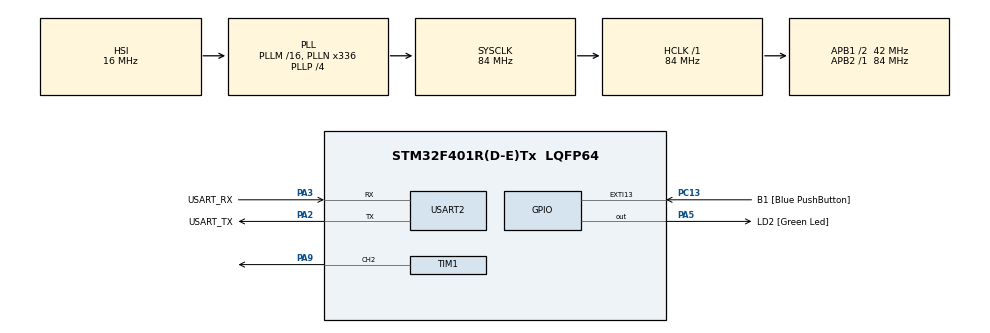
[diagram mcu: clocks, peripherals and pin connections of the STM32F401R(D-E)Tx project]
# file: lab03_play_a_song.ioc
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Mcu.Family=STM32F4
Mcu.Name=STM32F401R(D-E)Tx
Mcu.Package=LQFP64
NVIC.PriorityGroup=NVIC_PRIORITYGROUP_0
PA13.GPIO_Label=TMS
PA13.Mode=Serial_Wire
PA13.Signal=SYS_JTMS-SWDIO
PA14.GPIO_Label=TCK
PA14.Mode=Serial_Wire
PA14.Signal=SYS_JTCK-SWCLK
PA2.GPIO_Label=USART_TX
PA2.GPIO_Mode=GPIO_MODE_AF_PP
PA2.GPIO_PuPd=GPIO_NOPULL
PA2.GPIO_Speed=GPIO_SPEED_FREQ_LOW
PA2.Mode=Asynchronous
PA2.Signal=USART2_TX
PA3.GPIO_Label=USART_RX
PA3.GPIO_Mode=GPIO_MODE_AF_PP
PA3.GPIO_PuPd=GPIO_NOPULL
PA3.GPIO_Speed=GPIO_SPEED_FREQ_LOW
PA3.Mode=Asynchronous
PA3.Signal=USART2_RX
PA5.GPIO_Label=LD2 [Green Led]
PA5.GPIO_Mode=GPIO_MODE_OUTPUT_PP
PA5.GPIO_PuPd=GPIO_NOPULL
PA5.GPIO_Speed=GPIO_SPEED_FREQ_LOW
PA5.Signal=GPIO_Output
PA9.Signal=S_TIM1_CH2
PB3.GPIO_Label=SWO
PB3.Signal=SYS_JTDO-SWO
PC13-ANTI_TAMP.GPIO_Label=B1 [Blue PushButton]
PC13-ANTI_TAMP.GPIO_ModeDefaultEXTI=GPIO_MODE_IT_FALLING
PC13-ANTI_TAMP.GPIO_PuPd=GPIO_NOPULL
PC13-ANTI_TAMP.Signal=GPXTI13
PC14-OSC32_IN.Mode=LSE-External-Oscillator
PC14-OSC32_IN.Signal=RCC_OSC32_IN
PC15-OSC32_OUT.Mode=LSE-External-Oscillator
PC15-OSC32_OUT.Signal=RCC_OSC32_OUT
PH0\ -\ OSC_IN.Mode=HSE-External-Clock-Source
PH0\ -\ OSC_IN.Signal=RCC_OSC_IN
PH1\ -\ OSC_OUT.Mode=HSE-External-Clock-Source
PH1\ -\ OSC_OUT.Signal=RCC_OSC_OUT
ProjectManager.HeapSize=0x200
ProjectManager.StackSize=0x400
ProjectManager.TargetToolchain=STM32CubeIDE
RCC.48MHZClocksFreq_Value=48000000
RCC.AHBFreq_Value=84000000
RCC.APB1CLKDivider=RCC_HCLK_DIV2
RCC.APB1Freq_Value=42000000
RCC.APB1TimFreq_Value=84000000
RCC.APB2Freq_Value=84000000
RCC.APB2TimFreq_Value=84000000
RCC.CortexFreq_Value=84000000
RCC.HCLKFreq_Value=84000000
RCC.HSE_VALUE=8000000
RCC.HSI_VALUE=16000000
RCC.PLLN=336
RCC.PLLP=RCC_PLLP_DIV4
RCC.PLLQ=7
RCC.SYSCLKFreq_VALUE=84000000
RCC.SYSCLKSource=RCC_SYSCLKSOURCE_PLLCLK
RCC.VCOOutputFreq_Value=336000000
SH.S_TIM1_CH2.0=TIM1_CH2,PWM Generation2 CH2
TIM1.Channel-PWM\ Generation2\ CH2=TIM_CHANNEL_2
TIM1.Prescaler=100-1
USART2.VirtualMode=VM_ASYNC
VP_TIM1_VS_ClockSourceINT.Mode=Internal
board=NUCLEO-F401RE

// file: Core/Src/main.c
/* USER CODE BEGIN Header */
/**
  ******************************************************************************
  * @file           : main.c
  * @brief          : Main program body
  ******************************************************************************
  * @attention
  *
  * Copyright (c) 2023 STMicroelectronics.
  * All rights reserved.
  *
  * This software is licensed under terms that can be found in the LICENSE file
  * in the root directory of this software component.
  * If no LICENSE file comes with this software, it is provided AS-IS.
  *
  ******************************************************************************
  */
/* USER CODE END Header */
#include "main.h"

/* USER CODE BEGIN Includes */
#include "stdlib.h"

/* USER CODE END Includes */

/* USER CODE BEGIN PD */
#define DO4   3206
#define DO4_  3032
#define RE4   2857
#define RE4_  2700
#define MI4   2545
#define FA4   2406
#define FA4_  2270
#define SOL4  2142
#define SOL4_ 2024
#define LA4   1909
#define LA4_  1802
#define SI4   1700

#define DO5   1606
#define DO5_  1516
#define RE5   1431
#define RE5_  1350
#define MI5   1274
#define FA5   1203
#define FA5_  1135
#define SOL5  1072
#define SOL5_ 1012
#define LA5   954
#define LA5_  901
#define SI5   851

#define TEMPO 1000	// time of one bar (battuta del pentagramma) in ms

/* USER CODE END PD */

TIM_HandleTypeDef htim1;

UART_HandleTypeDef huart2;

/* USER CODE BEGIN PV */

struct note {
	int period;
	int delay;
	struct note *next;
}note;

/* USER CODE END PV */

void SystemClock_Config(void);
static void MX_GPIO_Init(void);
static void MX_USART2_UART_Init(void);
static void MX_TIM1_Init(void);
/* USER CODE BEGIN PFP */

// receives the period of the node to set
static void set_Note(int);

// create the linked list of notes (that composes a song)
static struct note* create_Song(int[], int[], int);

// receives the period of the node to play and the delay of play
static void play_Note(int, int);

// the parameters are the array of notes and delays of the song
static void play_Song(struct note*);

// the parameter is the TEMPO multiplier
static void play_London_Bridge(int);
static void play_Happy_Birthday(int);
static void play_Bro_Martin(int);
static void play_Pokemon_Emerald(int);

/* USER CODE END PFP */

int main(void)
{

  /* MCU Configuration--------------------------------------------------------*/

  /* Reset of all peripherals, Initializes the Flash interface and the Systick. */
  HAL_Init();

  /* Configure the system clock */
  SystemClock_Config();

  /* Initialize all configured peripherals */
  MX_GPIO_Init();
  MX_USART2_UART_Init();
  MX_TIM1_Init();
  /* USER CODE BEGIN 2 */

  HAL_GPIO_WritePin(GPIOA, GPIO_PIN_5, GPIO_PIN_RESET);

  /*
  set_Note(SI5);
  HAL_TIM_PWM_Start(&htim1, TIM_CHANNEL_2);
  HAL_Delay(300);
  HAL_TIM_PWM_Stop(&htim1, TIM_CHANNEL_2);
  */

  //play_Happy_Birthday(1);
  //play_Bro_Martin(2);
  //play_London_Bridge(1);
  play_Pokemon_Emerald(1);

  /* USER CODE END 2 */

  /* Infinite loop */
  while (1)
  {

  }
}

void SystemClock_Config(void)
{
  RCC_OscInitTypeDef RCC_OscInitStruct = {0};
  RCC_ClkInitTypeDef RCC_ClkInitStruct = {0};

  /** Configure the main internal regulator output voltage
  */
  __HAL_RCC_PWR_CLK_ENABLE();
  __HAL_PWR_VOLTAGESCALING_CONFIG(PWR_REGULATOR_VOLTAGE_SCALE2);

  /** Initializes the RCC Oscillators according to the specified parameters
  * in the RCC_OscInitTypeDef structure.
  */
  RCC_OscInitStruct.OscillatorType = RCC_OSCILLATORTYPE_HSI;
  RCC_OscInitStruct.HSIState = RCC_HSI_ON;
  RCC_OscInitStruct.HSICalibrationValue = RCC_HSICALIBRATION_DEFAULT;
  RCC_OscInitStruct.PLL.PLLState = RCC_PLL_ON;
  RCC_OscInitStruct.PLL.PLLSource = RCC_PLLSOURCE_HSI;
  RCC_OscInitStruct.PLL.PLLM = 16;
  RCC_OscInitStruct.PLL.PLLN = 336;
  RCC_OscInitStruct.PLL.PLLP = RCC_PLLP_DIV4;
  RCC_OscInitStruct.PLL.PLLQ = 7;
  if (HAL_RCC_OscConfig(&RCC_OscInitStruct) != HAL_OK)
  {
    Error_Handler();
  }

  /** Initializes the CPU, AHB and APB buses clocks
  */
  RCC_ClkInitStruct.ClockType = RCC_CLOCKTYPE_HCLK|RCC_CLOCKTYPE_SYSCLK
                              |RCC_CLOCKTYPE_PCLK1|RCC_CLOCKTYPE_PCLK2;
  RCC_ClkInitStruct.SYSCLKSource = RCC_SYSCLKSOURCE_PLLCLK;
  RCC_ClkInitStruct.AHBCLKDivider = RCC_SYSCLK_DIV1;
  RCC_ClkInitStruct.APB1CLKDivider = RCC_HCLK_DIV2;
  RCC_ClkInitStruct.APB2CLKDivider = RCC_HCLK_DIV1;

  if (HAL_RCC_ClockConfig(&RCC_ClkInitStruct, FLASH_LATENCY_2) != HAL_OK)
  {
    Error_Handler();
  }
}

static void MX_TIM1_Init(void)
{

  TIM_ClockConfigTypeDef sClockSourceConfig = {0};
  TIM_MasterConfigTypeDef sMasterConfig = {0};
  TIM_OC_InitTypeDef sConfigOC = {0};
  TIM_BreakDeadTimeConfigTypeDef sBreakDeadTimeConfig = {0};

  htim1.Instance = TIM1;
  htim1.Init.Prescaler = 100-1;
  htim1.Init.CounterMode = TIM_COUNTERMODE_UP;
  htim1.Init.Period = 65535;
  htim1.Init.ClockDivision = TIM_CLOCKDIVISION_DIV1;
  htim1.Init.RepetitionCounter = 0;
  htim1.Init.AutoReloadPreload = TIM_AUTORELOAD_PRELOAD_DISABLE;
  if (HAL_TIM_Base_Init(&htim1) != HAL_OK)
  {
    Error_Handler();
  }
  sClockSourceConfig.ClockSource = TIM_CLOCKSOURCE_INTERNAL;
  if (HAL_TIM_ConfigClockSource(&htim1, &sClockSourceConfig) != HAL_OK)
  {
    Error_Handler();
  }
  if (HAL_TIM_PWM_Init(&htim1) != HAL_OK)
  {
    Error_Handler();
  }
  sMasterConfig.MasterOutputTrigger = TIM_TRGO_RESET;
  sMasterConfig.MasterSlaveMode = TIM_MASTERSLAVEMODE_DISABLE;
  if (HAL_TIMEx_MasterConfigSynchronization(&htim1, &sMasterConfig) != HAL_OK)
  {
    Error_Handler();
  }
  sConfigOC.OCMode = TIM_OCMODE_PWM1;
  sConfigOC.Pulse = 0;
  sConfigOC.OCPolarity = TIM_OCPOLARITY_HIGH;
  sConfigOC.OCNPolarity = TIM_OCNPOLARITY_HIGH;
  sConfigOC.OCFastMode = TIM_OCFAST_DISABLE;
  sConfigOC.OCIdleState = TIM_OCIDLESTATE_RESET;
  sConfigOC.OCNIdleState = TIM_OCNIDLESTATE_RESET;
  if (HAL_TIM_PWM_ConfigChannel(&htim1, &sConfigOC, TIM_CHANNEL_2) != HAL_OK)
  {
    Error_Handler();
  }
  sBreakDeadTimeConfig.OffStateRunMode = TIM_OSSR_DISABLE;
  sBreakDeadTimeConfig.OffStateIDLEMode = TIM_OSSI_DISABLE;
  sBreakDeadTimeConfig.LockLevel = TIM_LOCKLEVEL_OFF;
  sBreakDeadTimeConfig.DeadTime = 0;
  sBreakDeadTimeConfig.BreakState = TIM_BREAK_DISABLE;
  sBreakDeadTimeConfig.BreakPolarity = TIM_BREAKPOLARITY_HIGH;
  sBreakDeadTimeConfig.AutomaticOutput = TIM_AUTOMATICOUTPUT_DISABLE;
  if (HAL_TIMEx_ConfigBreakDeadTime(&htim1, &sBreakDeadTimeConfig) != HAL_OK)
  {
    Error_Handler();
  }
  HAL_TIM_MspPostInit(&htim1);

}

static void MX_USART2_UART_Init(void)
{

  huart2.Instance = USART2;
  huart2.Init.BaudRate = 115200;
  huart2.Init.WordLength = UART_WORDLENGTH_8B;
  huart2.Init.StopBits = UART_STOPBITS_1;
  huart2.Init.Parity = UART_PARITY_NONE;
  huart2.Init.Mode = UART_MODE_TX_RX;
  huart2.Init.HwFlowCtl = UART_HWCONTROL_NONE;
  huart2.Init.OverSampling = UART_OVERSAMPLING_16;
  if (HAL_UART_Init(&huart2) != HAL_OK)
  {
    Error_Handler();
  }

}

static void MX_GPIO_Init(void)
{
  GPIO_InitTypeDef GPIO_InitStruct = {0};

  /* GPIO Ports Clock Enable */
  __HAL_RCC_GPIOC_CLK_ENABLE();
  __HAL_RCC_GPIOH_CLK_ENABLE();
  __HAL_RCC_GPIOA_CLK_ENABLE();
  __HAL_RCC_GPIOB_CLK_ENABLE();

  /*Configure GPIO pin Output Level */
  HAL_GPIO_WritePin(LD2_GPIO_Port, LD2_Pin, GPIO_PIN_RESET);

  /*Configure GPIO pin : B1_Pin */
  GPIO_InitStruct.Pin = B1_Pin;
  GPIO_InitStruct.Mode = GPIO_MODE_IT_FALLING;
  GPIO_InitStruct.Pull = GPIO_NOPULL;
  HAL_GPIO_Init(B1_GPIO_Port, &GPIO_InitStruct);

  /*Configure GPIO pin : LD2_Pin */
  GPIO_InitStruct.Pin = LD2_Pin;
  GPIO_InitStruct.Mode = GPIO_MODE_OUTPUT_PP;
  GPIO_InitStruct.Pull = GPIO_NOPULL;
  GPIO_InitStruct.Speed = GPIO_SPEED_FREQ_LOW;
  HAL_GPIO_Init(LD2_GPIO_Port, &GPIO_InitStruct);

}

/* USER CODE BEGIN 4 */

static void set_Note(int period) {

  TIM_ClockConfigTypeDef sClockSourceConfig = {0};
  TIM_MasterConfigTypeDef sMasterConfig = {0};
  TIM_OC_InitTypeDef sConfigOC = {0};
  TIM_BreakDeadTimeConfigTypeDef sBreakDeadTimeConfig = {0};

  htim1.Instance = TIM1;
  htim1.Init.Prescaler = 100-1;
  htim1.Init.CounterMode = TIM_COUNTERMODE_UP;
  htim1.Init.Period = period - 1;
  htim1.Init.ClockDivision = TIM_CLOCKDIVISION_DIV1;
  htim1.Init.RepetitionCounter = 0;
  htim1.Init.AutoReloadPreload = TIM_AUTORELOAD_PRELOAD_DISABLE;

  if (HAL_TIM_Base_Init(&htim1) != HAL_OK){
    Error_Handler();
  }

  sClockSourceConfig.ClockSource = TIM_CLOCKSOURCE_INTERNAL;
  if (HAL_TIM_ConfigClockSource(&htim1, &sClockSourceConfig) != HAL_OK){
    Error_Handler();
  }

  if (HAL_TIM_PWM_Init(&htim1) != HAL_OK){
    Error_Handler();
  }

  sMasterConfig.MasterOutputTrigger = TIM_TRGO_RESET;
  sMasterConfig.MasterSlaveMode = TIM_MASTERSLAVEMODE_DISABLE;

  if (HAL_TIMEx_MasterConfigSynchronization(&htim1, &sMasterConfig) != HAL_OK){
    Error_Handler();
  }

  sConfigOC.OCMode = TIM_OCMODE_PWM1;
  sConfigOC.Pulse = ((int) period / 2) - 1;
  sConfigOC.OCPolarity = TIM_OCPOLARITY_HIGH;
  sConfigOC.OCNPolarity = TIM_OCNPOLARITY_HIGH;
  sConfigOC.OCFastMode = TIM_OCFAST_DISABLE;
  sConfigOC.OCIdleState = TIM_OCIDLESTATE_RESET;
  sConfigOC.OCNIdleState = TIM_OCNIDLESTATE_RESET;

  if (HAL_TIM_PWM_ConfigChannel(&htim1, &sConfigOC, TIM_CHANNEL_2) != HAL_OK){
    Error_Handler();
  }

  sBreakDeadTimeConfig.OffStateRunMode = TIM_OSSR_DISABLE;
  sBreakDeadTimeConfig.OffStateIDLEMode = TIM_OSSI_DISABLE;
  sBreakDeadTimeConfig.LockLevel = TIM_LOCKLEVEL_OFF;
  sBreakDeadTimeConfig.DeadTime = 0;
  sBreakDeadTimeConfig.BreakState = TIM_BREAK_DISABLE;
  sBreakDeadTimeConfig.BreakPolarity = TIM_BREAKPOLARITY_HIGH;
  sBreakDeadTimeConfig.AutomaticOutput = TIM_AUTOMATICOUTPUT_DISABLE;

  if (HAL_TIMEx_ConfigBreakDeadTime(&htim1, &sBreakDeadTimeConfig) != HAL_OK){
    Error_Handler();
  }

  HAL_TIM_MspPostInit(&htim1);
}

static void play_Note(int period, int delay) {
	set_Note(period);
	HAL_TIM_PWM_Start(&htim1, TIM_CHANNEL_2);
	HAL_Delay(delay);
	HAL_TIM_PWM_Stop(&htim1, TIM_CHANNEL_2);
}

static struct note* create_Song(int notes[], int delays[], int size) {
	struct note *head = NULL;
	struct note *tail = NULL;
	int i = 0;

	for(i = 0; i < size; i++) {
		if(i == 0){
			head = malloc(sizeof(note));
			head->period = notes[i];
			head->delay = delays[i];
			head->next = NULL;

			tail = head;
		} else {
			tail->next = malloc(sizeof(note));
			tail = tail->next;
			tail->period = notes[i];
			tail->delay = delays[i];
			tail->next = NULL;
		}
	}

	return head;
}

static void play_Song(struct note* head) {
	struct note* temp = head;

	while(temp != NULL) {
		play_Note(temp->period, temp->delay);
		temp = temp->next;
	}

}

static void play_London_Bridge(int multi) {
	// write notes
	int notes[] = {SOL4, LA4, SOL4, FA4, MI4, FA4, SOL4, RE4, MI4, FA4, MI4, FA4, SOL4, SOL4, LA4, SOL4,
					FA4, MI4, FA4, SOL4, RE4, SOL4, MI4, DO4};

	// write tempos
	int delays[] = {(int) TEMPO * multi *  3/8,
					(int) TEMPO * multi * 1/8,
					(int) TEMPO * multi * 2/8,
					(int) TEMPO * multi * 2/8,
					(int) TEMPO * multi * 2/8,
					(int) TEMPO * multi * 2/8,
					(int) TEMPO * multi * 4/8,
					(int) TEMPO * multi * 2/8,
					(int) TEMPO * multi * 2/8,
					(int) TEMPO * multi * 4/8,
					(int) TEMPO * multi * 2/8,
					(int) TEMPO * multi * 2/8,
					(int) TEMPO * multi * 4/8,
					(int) TEMPO * multi * 3/8,
					(int) TEMPO * multi * 1/8,
					(int) TEMPO * multi * 2/8,
					(int) TEMPO * multi * 2/8,
					(int) TEMPO * multi * 2/8,
					(int) TEMPO * multi * 2/8,
					(int) TEMPO * multi * 4/8,
					(int) TEMPO * multi * 4/8,
					(int) TEMPO * multi * 4/8,
					(int) TEMPO * multi * 2/8,
					(int) TEMPO * multi * 6/8
	};

	// check dimension of arrays and create structure of song
	if((sizeof(notes)/sizeof(int)) != (sizeof(delays)/sizeof(int))) {
		HAL_GPIO_WritePin(GPIOA, GPIO_PIN_5, GPIO_PIN_SET);
	} else {
		struct note* head = create_Song(notes, delays, (sizeof(notes)/sizeof(int)));
		play_Song(head);
	}

	HAL_TIM_PWM_Stop(&htim1, TIM_CHANNEL_2);
}

static void play_Happy_Birthday(int multi) {
	// write notes
	int notes[] = {SOL4, SOL4, LA4, SOL4, DO5, SI4, SOL4, SOL4, LA4, SOL4, RE5, DO5, SOL4, SOL4, SOL5,
					MI5, DO5, SI4, LA4, FA5, FA5, MI5, DO5, RE5, DO5};

	// write tempos
	int delays[] = {(int) TEMPO * multi * 2/8,
					(int) TEMPO * multi * 2/8,
					(int) TEMPO * multi * 4/8,
					(int) TEMPO * multi * 4/8,
					(int) TEMPO * multi * 4/8,
					(int) TEMPO * multi * 8/8,
					(int) TEMPO * multi * 2/8,
					(int) TEMPO * multi * 2/8,
					(int) TEMPO * multi * 4/8,
					(int) TEMPO * multi * 4/8,
					(int) TEMPO * multi * 4/8,
					(int) TEMPO * multi * 8/8,
					(int) TEMPO * multi * 2/8,
					(int) TEMPO * multi * 2/8,
					(int) TEMPO * multi * 4/8,
					(int) TEMPO * multi * 4/8,
					(int) TEMPO * multi * 4/8,
					(int) TEMPO * multi * 4/8,
					(int) TEMPO * multi * 4/8,
					(int) TEMPO * multi * 2/8,
					(int) TEMPO * multi * 2/8,
					(int) TEMPO * multi * 4/8,
					(int) TEMPO * multi * 4/8,
					(int) TEMPO * multi * 4/8,
					(int) TEMPO * multi * 8/8
	};

	// check dimension of arrays and create structure of song
	if((sizeof(notes)/sizeof(int)) != (sizeof(delays)/sizeof(int))) {
		HAL_GPIO_WritePin(GPIOA, GPIO_PIN_5, GPIO_PIN_SET);
	} else {
		struct note* head = create_Song(notes, delays, (sizeof(notes)/sizeof(int)));
		play_Song(head);
	}

	HAL_TIM_PWM_Stop(&htim1, TIM_CHANNEL_2);
}

static void play_Bro_Martin(int multi) {
	// write notes
	int notes[] = {FA4, SOL4, LA4, FA4, FA4, SOL4, LA4, FA4, LA4, LA4_, DO5, LA4, LA4_, DO5,
					DO5, RE5, DO5, LA4_, LA4, FA4, DO5, RE5, DO5, LA4_, LA4, FA4, SOL4, DO4, FA4,
					SOL4, DO4, FA4};

	// write tempos
	int delays[] = {(int) TEMPO * multi * 2/8,
			(int) TEMPO * multi * 2/8,
			(int) TEMPO * multi * 2/8,
			(int) TEMPO * multi * 2/8,
			(int) TEMPO * multi * 2/8,
			(int) TEMPO * multi * 2/8,
			(int) TEMPO * multi * 2/8,
			(int) TEMPO * multi * 2/8,
			(int) TEMPO * multi * 2/8,
			(int) TEMPO * multi * 2/8,
			(int) TEMPO * multi * 4/8,
			(int) TEMPO * multi * 2/8,
			(int) TEMPO * multi * 2/8,
			(int) TEMPO * multi * 4/8,
			(int) TEMPO * multi * 1/8,
			(int) TEMPO * multi * 1/8,
			(int) TEMPO * multi * 1/8,
			(int) TEMPO * multi * 1/8,
			(int) TEMPO * multi * 2/8,
			(int) TEMPO * multi * 2/8,
			(int) TEMPO * multi * 1/8,
			(int) TEMPO * multi * 1/8,
			(int) TEMPO * multi * 1/8,
			(int) TEMPO * multi * 1/8,
			(int) TEMPO * multi * 2/8,
			(int) TEMPO * multi * 2/8,
			(int) TEMPO * multi * 2/8,
			(int) TEMPO * multi * 2/8,
			(int) TEMPO * multi * 4/8,
			(int) TEMPO * multi * 2/8,
			(int) TEMPO * multi * 2/8,
			(int) TEMPO * multi * 4/8
	};

	// check dimension of arrays and create structure of song
	if((sizeof(notes)/sizeof(int)) != (sizeof(delays)/sizeof(int))) {
		HAL_GPIO_WritePin(GPIOA, GPIO_PIN_5, GPIO_PIN_SET);
	} else {
		struct note* head = create_Song(notes, delays, (sizeof(notes)/sizeof(int)));
		play_Song(head);
	}

	HAL_TIM_PWM_Stop(&htim1, TIM_CHANNEL_2);
}

static void play_Pokemon_Emerald(int multi) {
	// write notes
	int notes[] = {(int)FA4*2,
					(int)DO4,
					(int)FA4,
					(int)DO4,

					(int)FA4*2,
					(int)DO4,
					(int)FA4,
					(int)DO4,

					(int)LA4*2,
					(int)MI4,
					(int)LA4,
					(int)MI4,

					(int)DO4_,
					(int)LA4,
					(int)DO4_/2,
					(int)LA4,

					(int)RE4,
					(int)LA4,
					(int)RE4/2,
					(int)LA4,

					(int)DO4_,
					(int)LA4,
					(int)DO4_/2,
					(int)LA4,

					(int)DO4,
					(int)LA4_,
					(int)DO4,
					(int)LA4,

					(int)SI4,

					(int)LA4_*2,
					(int)FA4,
					(int)LA4_,
					(int)FA4,

					(int)LA4_,
					(int)FA4,
					(int)LA4,
					(int)FA4,

					(int)SOL4*2,
					(int)RE4,
					(int)SOL4,
					(int)RE4,

					(int)SOL4*2,
					(int)RE4,
					(int)SOL4,
					(int)RE4,

					(int)DO4,
					(int)SOL4,
					(int)DO4/2,
					(int)SOL4,

					(int)MI4/2,
					(int)SOL4,
					(int)DO4/2,
					(int)SOL4,

					(int)DO4,
					(int)SOL4,
					(int)LA4_*2,
					(int)SOL4,

					(int)DO4,
					(int)DO4*2
	};

	// write tempos
	int delays[] = {(int) TEMPO * multi * 2/8,
			(int) TEMPO * multi * 2/8,
			(int) TEMPO * multi * 2/8,
			(int) TEMPO * multi * 2/8,

			(int) TEMPO * multi * 2/8,
			(int) TEMPO * multi * 2/8,
			(int) TEMPO * multi * 2/8,
			(int) TEMPO * multi * 2/8,

			(int) TEMPO * multi * 2/8,
			(int) TEMPO * multi * 2/8,
			(int) TEMPO * multi * 2/8,
			(int) TEMPO * multi * 2/8,

			(int) TEMPO * multi * 2/8,
			(int) TEMPO * multi * 2/8,
			(int) TEMPO * multi * 2/8,
			(int) TEMPO * multi * 2/8,

			(int) TEMPO * multi * 2/8,
			(int) TEMPO * multi * 2/8,
			(int) TEMPO * multi * 2/8,
			(int) TEMPO * multi * 2/8,

			(int) TEMPO * multi * 2/8,
			(int) TEMPO * multi * 2/8,
			(int) TEMPO * multi * 2/8,
			(int) TEMPO * multi * 2/8,

			(int) TEMPO * multi * 2/8,
			(int) TEMPO * multi * 2/8,
			(int) TEMPO * multi * 2/8,
			(int) TEMPO * multi * 2/8,

			(int) TEMPO * multi * 8/8,

			(int) TEMPO * multi * 2/8,
			(int) TEMPO * multi * 2/8,
			(int) TEMPO * multi * 2/8,
			(int) TEMPO * multi * 2/8,

			(int) TEMPO * multi * 2/8,
			(int) TEMPO * multi * 2/8,
			(int) TEMPO * multi * 2/8,
			(int) TEMPO * multi * 2/8,

			(int) TEMPO * multi * 2/8,
			(int) TEMPO * multi * 2/8,
			(int) TEMPO * multi * 2/8,
			(int) TEMPO * multi * 2/8,

			(int) TEMPO * multi * 2/8,
			(int) TEMPO * multi * 2/8,
			(int) TEMPO * multi * 2/8,
			(int) TEMPO * multi * 2/8,

			(int) TEMPO * multi * 2/8,
			(int) TEMPO * multi * 2/8,
			(int) TEMPO * multi * 2/8,
			(int) TEMPO * multi * 2/8,

			(int) TEMPO * multi * 2/8,
			(int) TEMPO * multi * 2/8,
			(int) TEMPO * multi * 2/8,
			(int) TEMPO * multi * 2/8,

			(int) TEMPO * multi * 2/8,
			(int) TEMPO * multi * 2/8,
			(int) TEMPO * multi * 2/8,
			(int) TEMPO * multi * 2/8,

			(int) TEMPO * multi * 2/8,
			(int) TEMPO * multi * 6/8
	};

	// check dimension of arrays and create structure of song
	if((sizeof(notes)/sizeof(int)) != (sizeof(delays)/sizeof(int))) {
		HAL_GPIO_WritePin(GPIOA, GPIO_PIN_5, GPIO_PIN_SET);
	} else {
		struct note* head = create_Song(notes, delays, (sizeof(notes)/sizeof(int)));
		HAL_Delay(750);
		play_Song(head);
	}

	HAL_TIM_PWM_Stop(&htim1, TIM_CHANNEL_2);
}

/* USER CODE END 4 */

void Error_Handler(void)
{
  __disable_irq();
  while (1)
  {
  }
}
